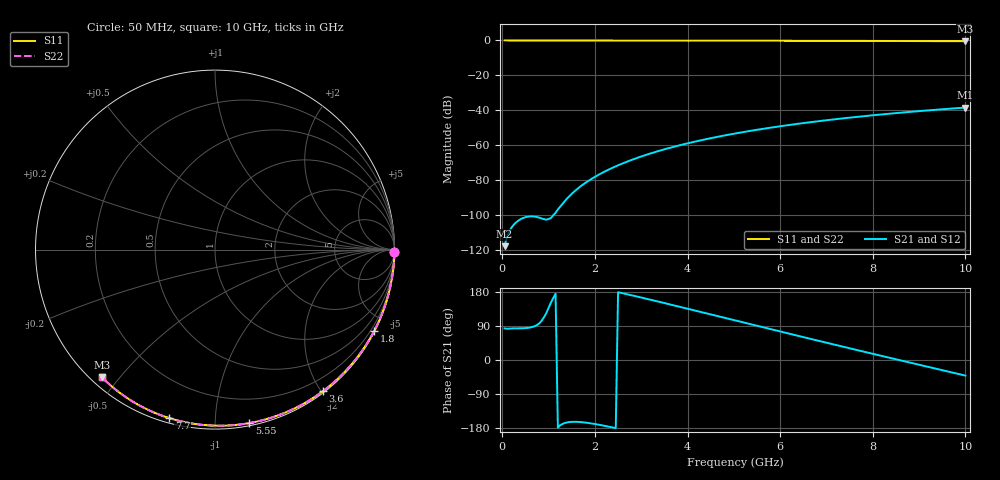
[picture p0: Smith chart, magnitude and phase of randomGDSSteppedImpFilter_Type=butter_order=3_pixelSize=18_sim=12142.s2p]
! freq	dB(S11)	phase(S11)	dB(S12)	phase(S12)
!  dB(S21)	phase(S21)	dB(S22)	phase(S22)
!S-par simulation data
#  GHz  S  DB  R 50
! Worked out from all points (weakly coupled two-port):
!   200 points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, 50 MHz to 10 GHz, reference 50 ohm
!   highest |S21| = -38.37 dB at 10 GHz (marker M1); lowest = -117.7 dB at 50 MHz (marker M2)
!   lowest |S11| = -0.4 dB at 10 GHz (marker M3), VSWR 39.07, Z = 1.54 - j22.5 ohm
!   |S11| at or under -10 dB: nowhere
!   |S22| runs from -0.4 to 0.0 dB; largest |S21 - S12| = 0
!   S11 on the Smith chart (normalised r, x): 50 MHz: open; 1.8 GHz: 0.04, -4.17; 3.6 GHz: 0.02, -2.02; 5.55 GHz: 0.02, -1.22; 7.7 GHz: 0.02, -0.76; 10 GHz: 0.03, -0.45
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0.05  -0.00 -0.8  -117.65 83.5  -117.65 83.5  -0.00 -0.8
0.9  -0.02 -13.6  -102.24 113.0  -102.24 113.0  -0.02 -13.6
1.75  -0.03 -26.2  -82.28 -164.5  -82.28 -164.5  -0.03 -26.2
1.8  -0.03 -27.0  -81.34 -165.2  -81.34 -165.2  -0.03 -27.0
1.85  -0.04 -27.7  -80.46 -166.0  -80.46 -166.0  -0.04 -27.7
1.9  -0.04 -28.4  -79.61 -166.9  -79.61 -166.9  -0.04 -28.4
2.05  -0.04 -30.6  -77.24 -170.0  -77.24 -170.0  -0.04 -30.6
2.25  -0.04 -33.5  -74.45 -174.7  -74.45 -174.7  -0.04 -33.5
2.45  -0.05 -36.4  -71.98 -179.8  -71.98 -179.8  -0.05 -36.4
2.65  -0.05 -39.3  -69.76 174.8  -69.76 174.8  -0.05 -39.3
3  -0.06 -44.3  -66.36 164.9  -66.36 164.9  -0.06 -44.3
3.4  -0.07 -50.0  -63.03 153.2  -63.03 153.2  -0.07 -50.0
3.6  -0.07 -52.7  -61.54 147.3  -61.54 147.3  -0.07 -52.7
4.3  -0.09 -62.3  -57.03 126.4  -57.03 126.4  -0.09 -62.3
5.05  -0.11 -72.3  -53.10 103.8  -53.10 103.8  -0.11 -72.3
5.55  -0.13 -78.8  -50.87 88.8  -50.87 88.8  -0.13 -78.8
6.1  -0.15 -85.7  -48.69 72.3  -48.69 72.3  -0.15 -85.7
6.7  -0.18 -93.2  -46.59 54.4  -46.59 54.4  -0.18 -93.2
7.7  -0.24 -105.2  -43.58 25.0  -43.58 25.0  -0.24 -105.2
8.35  -0.29 -112.8  -41.91 6.2  -41.91 6.2  -0.29 -112.8
9.15  -0.36 -121.9  -40.08 -16.8  -40.08 -16.8  -0.36 -121.9
10  -0.44 -131.6  -38.37 -41.1  -38.37 -41.1  -0.44 -131.6
